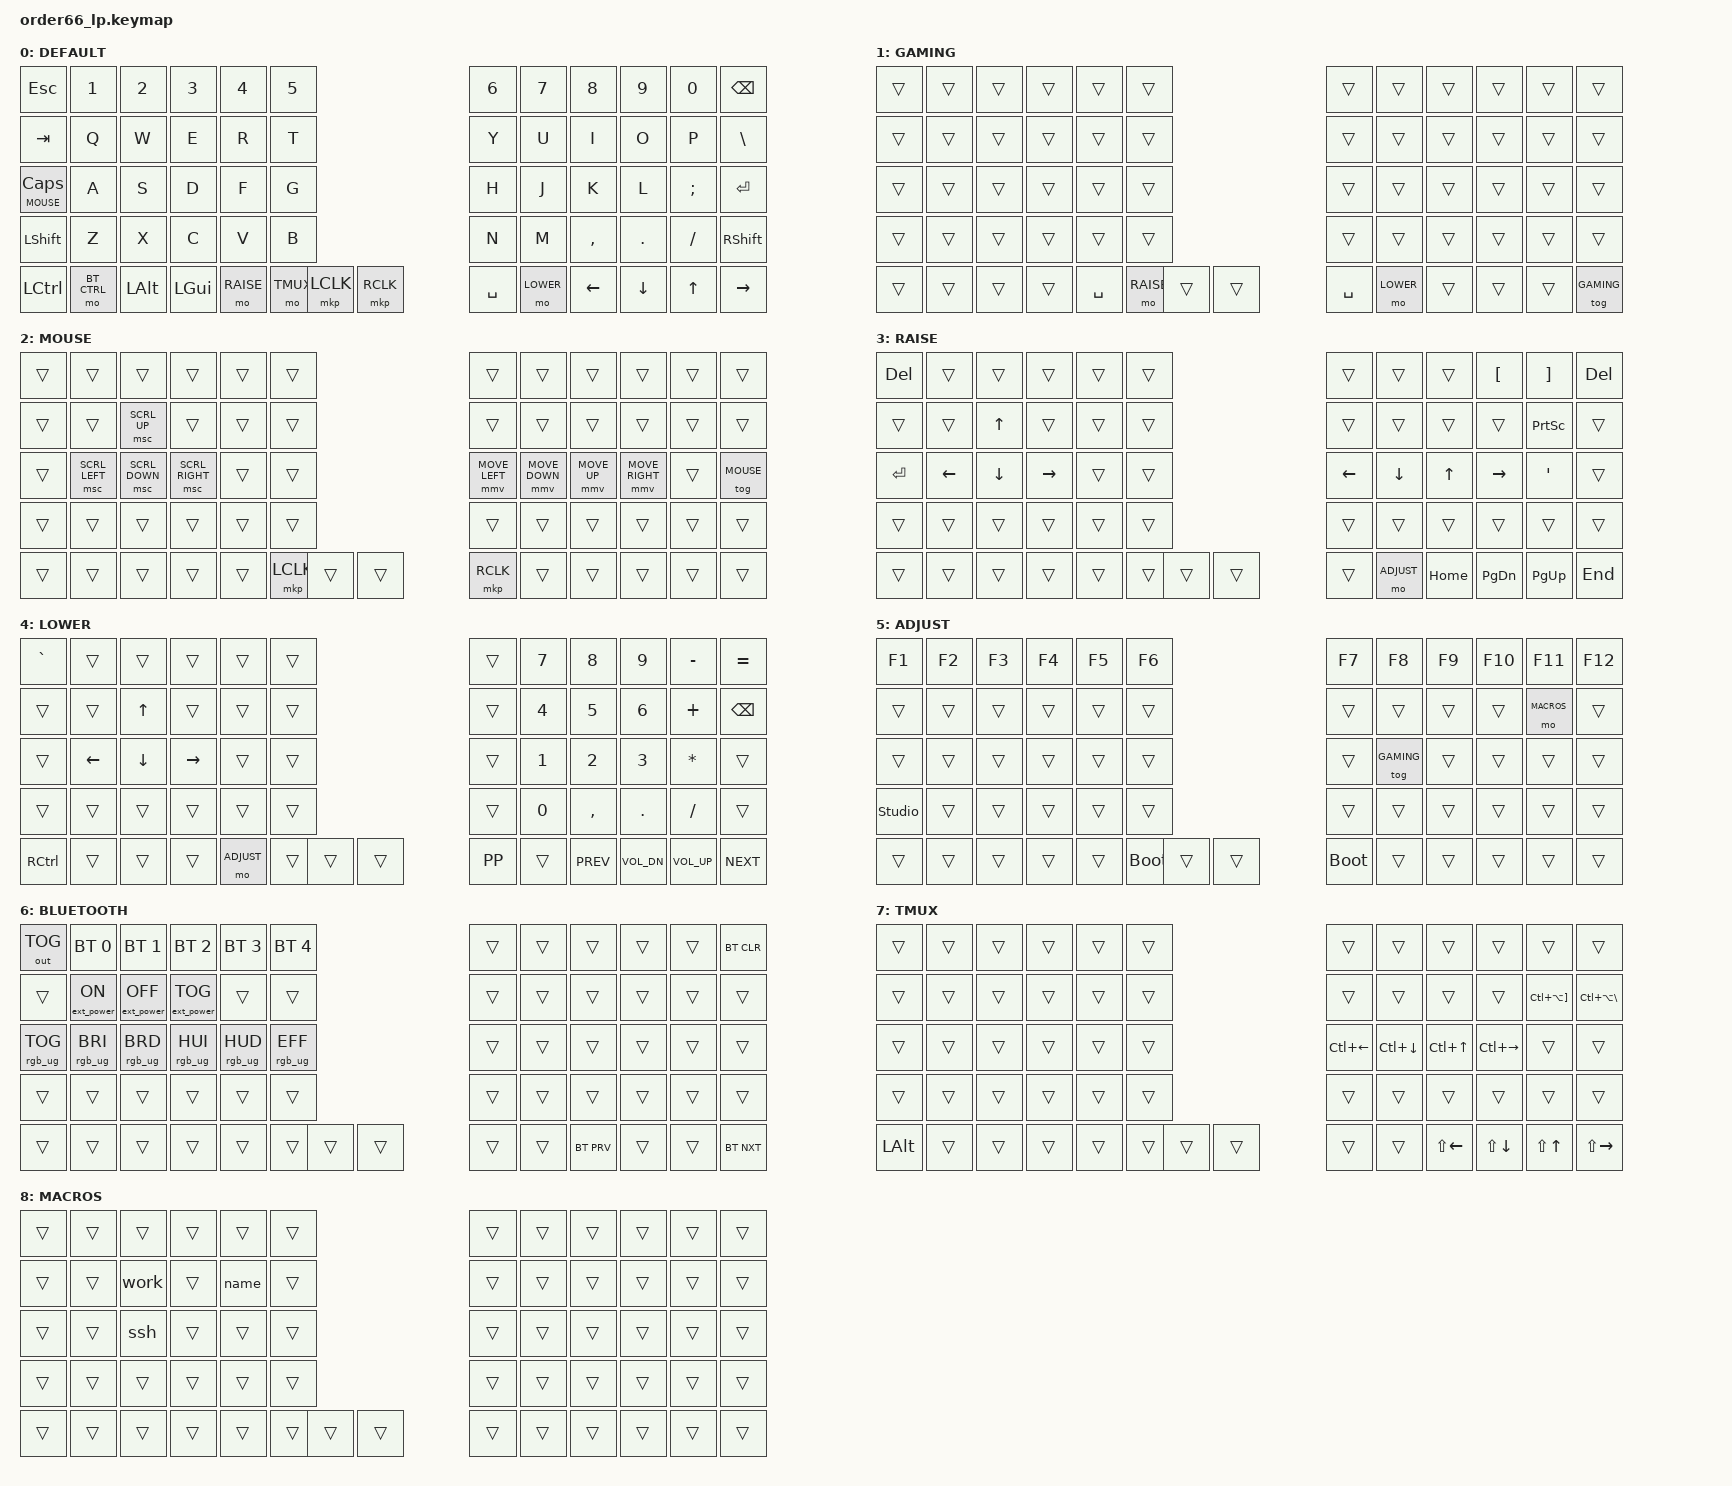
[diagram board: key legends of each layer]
/*
 * order66-lp keymap -- 5x12, 60 keys per layer.
 *
 * Ported from the v1.0 order66 keymap by tools/port_keymap.py, which drops the
 * first 12 bindings of each layer: the old board had a 6-key top row wired as
 * matrix row 0, and every layer bound all of it to &none / &trans.
 *
 * Two bindings are then appended for the dedicated mouse buttons beside the
 * trackpad, giving 62 per layer.
 *
 * SPDX-License-Identifier: MIT
 */

#include <behaviors.dtsi>
#include <dt-bindings/zmk/bt.h>
#include <dt-bindings/zmk/ext_power.h>
#include <dt-bindings/zmk/keys.h>
#include <dt-bindings/zmk/outputs.h>
#include <dt-bindings/zmk/rgb.h>
#include <dt-bindings/zmk/pointing.h>
#include "macros.dtsi"

#define DEFAULT 0
#define GAMING 1
#define MOUSE 2
#define RAISE 3
#define LOWER 4
#define ADJUST 5
#define BT_CTRL 6
#define TMUX 7
#define MACROS 8

/ {
    keymap {
        compatible = "zmk,keymap";

        default_layer {
            display-name = "DEFAULT";
            // ------------------------------------------------------------------------------------------
            // |  ESC  |  1   |  2   |  3   |  4   |  5   |   6   |  7    |  8   |  9   |   0   | BSPC  |
            // |  TAB  |  Q   |  W   |  E   |  R   |  T   |   Y   |  U    |  I   |  O   |   P   |  \    |
            // | SHIFT |  A   |  S   |  D   |  F   |  G   |   H   |  J    |  K   |  L   |   ;   |  '    |
            // | CTRL  |  Z   |  X   |  C   |  V   |  B   |   N   |  M    |  ,   |  .   |   /   | ENTER |
            // |ADJUST | LCTL | LALT | LGUI | LOWR | SPACE| SPACE |  RAIS | LEFT | DOWN | UARW  | RARW  |


            bindings = <
                &kp ESC         &kp N1          &kp N2          &kp N3          &kp N4          &kp N5          &kp N6          &kp N7          &kp N8          &kp N9          &kp N0          &kp BSPC
                &kp TAB         &kp Q           &kp W           &kp E           &kp R           &kp T           &kp Y           &kp U           &kp I           &kp O           &kp P           &kp BSLH
                &lt MOUSE CAPS  &kp A           &kp S           &kp D           &kp F           &kp G           &kp H           &kp J           &kp K           &kp L           &kp SEMI        &kp RET
                &kp LSHFT       &kp Z           &kp X           &kp C           &kp V           &kp B           &kp N           &kp M           &kp COMMA       &kp DOT         &kp FSLH        &kp RSHFT
                &kp LCTRL       &mo BT_CTRL     &kp LALT        &kp LGUI        &mo RAISE       &mo TMUX        &kp SPACE       &mo LOWER       &kp LEFT        &kp DOWN        &kp UP          &kp RIGHT
                &mkp LCLK       &mkp RCLK   // mouse buttons
            >;
        };

        gaming {
            display-name = "GAMING";
            bindings = <
                &trans       &trans       &trans       &trans       &trans       &trans       &trans       &trans       &trans       &trans       &trans       &trans
                &trans       &trans       &trans       &trans       &trans       &trans       &trans       &trans       &trans       &trans       &trans       &trans
                &trans       &trans       &trans       &trans       &trans       &trans       &trans       &trans       &trans       &trans       &trans       &trans
                &trans       &trans       &trans       &trans       &trans       &trans       &trans       &trans       &trans       &trans       &trans       &trans
                &trans       &trans       &trans       &trans       &kp SPACE    &mo RAISE    &kp SPACE    &mo LOWER    &trans       &trans       &trans       &tog GAMING
                &trans       &trans   // mouse buttons
            >;
        };

        mouse_control {
            display-name = "MOUSE";
            // ----------------------------------------------------------------------------------------------
            // |tog(4) |  F2    |   F3   |   F4   |   F5   |   F6   |  F7  |  F8  |  F9  | F10 | F11 |      |
            // |out tog|BT_SEL 0|BT_SEL 1|BT_SEL 2|BT_SEL 3|BT_SEL 4|BT_PRV|BT_NXT|BT_CLR|     |     |      |
            // |       |        |        |        |        |        |      |      |      |     |     |      |
            // |       |        |        |        |        |        |      |      |      |     |     |      |
            // |       |        |        |        |        |        |      |      |      |     |     |      |
            bindings = <
                &trans           &trans           &trans           &trans           &trans           &trans           &trans           &trans           &trans           &trans           &trans           &trans
                &trans           &trans           &msc SCRL_UP     &trans           &trans           &trans           &trans           &trans           &trans           &trans           &trans           &trans
                &trans           &msc SCRL_LEFT   &msc SCRL_DOWN   &msc SCRL_RIGHT  &trans           &trans           &mmv MOVE_LEFT   &mmv MOVE_DOWN   &mmv MOVE_UP     &mmv MOVE_RIGHT  &trans           &tog MOUSE
                &trans           &trans           &trans           &trans           &trans           &trans           &trans           &trans           &trans           &trans           &trans           &trans
                &trans           &trans           &trans           &trans           &trans           &mkp LCLK        &mkp RCLK        &trans           &trans           &trans           &trans           &trans
                &trans           &trans   // mouse buttons
            >;
        };

        raise_layer {
            display-name = "RAISE";
            // ------------------------------------------------------------------------------------------
            // |  ESC  |  F2  |  F3  |  F4  |  F5  |  F6  |  F7   |  F8   |  F9  | F10  |  F11  |  F12  |
            // |   ~   |  1   |  2   |  3   |  4   |  5   |  6    |   7   |  8   |  9   |   0   |  DEL  |
            // |  DEL  |  F1  |  F2  |  F3  |  F4  |  F5  |  F6   |   -   |  =   |  [   |   ]   |   \   |
            // |       |  F7  |  F8  |  F9  |  F10 |  F11 |  F12  |   #   |  |   |      |       |       |
            // |       |      |      |      |      |      |       |       |       |      |      |       |
            bindings = <
                &kp DEL     &trans      &trans      &trans      &trans      &trans      &trans      &trans      &trans      &kp LBKT    &kp RBKT    &kp DEL
                &trans      &trans      &kp UP      &trans      &trans      &trans      &trans      &trans      &trans      &trans      &kp PSCRN   &trans
                &kp RET     &kp LEFT    &kp DOWN    &kp RIGHT   &trans      &trans      &kp LEFT    &kp DOWN    &kp UP      &kp RIGHT   &kp SQT     &trans
                &trans      &trans      &trans      &trans      &trans      &trans      &trans      &trans      &trans      &trans      &trans      &trans
                &trans      &trans      &trans      &trans      &trans      &trans      &trans      &mo ADJUST  &kp HOME    &kp PG_DN   &kp PG_UP   &kp END
                &trans      &trans   // mouse buttons
            >;
        };
       
        lower_layer {
            display-name = "LOWER";
            // -------------------------------------------------------------------------------------------
            // |  ESC  |  F2  |  F3  |  F4  |  F5  |  F6  |   F7  |  F8   |  F9  | F10  |  F11  |  F12  |
            // |   ~   |  !   |  @   |  #   |  $   |  %   |   ^   |   &   |  *   |  (   |   )   |  DEL  |
            // |       |  F1  |  F2  |  F3  |  F4  |  F5  |   F6  |   _   |  +   |  {   |   }   |   |   |
            // |       |  F7  |  F8  |  F9  |  F10 |  F11 |   F12 | LS(#) |LS(|) |      |       |       |
            // |       |      |      |      |      |      |       |       | NEXT | Vol- | Vol+ | PLAY   |
            bindings = <
                &kp GRAVE     &trans        &trans        &trans        &trans        &trans        &trans        &kp N7        &kp N8        &kp N9        &kp MINUS     &kp EQUAL
                &trans        &trans        &kp UP        &trans        &trans        &trans        &trans        &kp N4        &kp N5        &kp N6        &kp PLUS      &kp BSPC
                &trans        &kp LEFT      &kp DOWN      &kp RIGHT     &trans        &trans        &trans        &kp N1        &kp N2        &kp N3        &kp STAR      &trans
                &trans        &trans        &trans        &trans        &trans        &trans        &trans        &kp N0        &kp COMMA     &kp DOT       &kp FSLH      &trans
                &kp RCTRL     &trans        &trans        &trans        &mo ADJUST    &trans        &kp K_PP      &trans        &kp K_PREV    &kp K_VOL_DN  &kp K_VOL_UP  &kp K_NEXT
                &trans        &trans   // mouse buttons
            >;
        };

        adjust_layer {
            display-name = "ADJUST";
            // ------------------------------------------------------------------------------------------
            // |tog(4)|  F2  |  F3  |  F4  |  F5  |  F6  |  F7  |  F8  |  F9  |  F10 |  F11 |    F12    |
            // |      |  NA  |  NA  |  NA  |  NA  |  NA  |  NA  |  NA  |  NA  |  NA  |  NA  |LALT(PRTSN)|
            // |      |  NA  |  NA  |  NA  |  NA  |  NA  |  NA  |  NA  |  NA  |  NA  |  NA  |   PRTSN   |
            // |      |  NA  |  NA  |  NA  |  NA  |  NA  |  NA  |  NA  |  NA  |  NA  |  NA  |LCTRL(DEL) |
            // |      |      |      |      |      |BOOTLD|BOOTLD|      |      |      |      |           |
            bindings = <
                &kp F1          &kp F2          &kp F3          &kp F4          &kp F5          &kp F6          &kp F7          &kp F8          &kp F9          &kp F10         &kp F11         &kp F12
                &trans          &trans          &trans          &trans          &trans          &trans          &trans          &trans          &trans          &trans          &mo MACROS      &trans
                &trans          &trans          &trans          &trans          &trans          &trans          &trans          &tog GAMING     &trans          &trans          &trans          &trans
                &studio_unlock  &trans          &trans          &trans          &trans          &trans          &trans          &trans          &trans          &trans          &trans          &trans
                &trans          &trans          &trans          &trans          &trans          &bootloader     &bootloader     &trans          &trans          &trans          &trans          &trans
                &trans          &trans   // mouse buttons
            >;
        };

        bluetooth_control {
            display-name = "BLUETOOTH";
            // ----------------------------------------------------------------------------------------------
            // |tog(4) |  F2    |   F3   |   F4   |   F5   |   F6   |  F7  |  F8  |  F9  | F10 | F11 |      |
            // |out tog|BT_SEL 0|BT_SEL 1|BT_SEL 2|BT_SEL 3|BT_SEL 4|BT_PRV|BT_NXT|BT_CLR|     |     |      |
            // |       |        |        |        |        |        |      |      |      |     |     |      |
            // |       |        |        |        |        |        |      |      |      |     |     |      |
            // |       |        |        |        |        |        |      |      |      |     |     |      |
            bindings = <
                &out OUT_TOG       &bt BT_SEL 0       &bt BT_SEL 1       &bt BT_SEL 2       &bt BT_SEL 3       &bt BT_SEL 4       &trans             &trans             &trans             &trans             &trans             &bt BT_CLR
                &trans             &ext_power EP_ON   &ext_power EP_OFF  &ext_power EP_TOG  &trans             &trans             &trans             &trans             &trans             &trans             &trans             &trans
                &rgb_ug RGB_TOG    &rgb_ug RGB_BRI    &rgb_ug RGB_BRD    &rgb_ug RGB_HUI    &rgb_ug RGB_HUD    &rgb_ug RGB_EFF    &trans             &trans             &trans             &trans             &trans             &trans
                &trans             &trans             &trans             &trans             &trans             &trans             &trans             &trans             &trans             &trans             &trans             &trans
                &trans             &trans             &trans             &trans             &trans             &trans             &trans             &trans             &bt BT_PRV         &trans             &trans             &bt BT_NXT
                &trans             &trans   // mouse buttons
            >;
        };

        tmux_control {
            display-name = "TMUX";
            // ----------------------------------------------------------------------------------------------
            // |tog(4) |  F2    |   F3   |   F4   |   F5   |   F6   |  F7  |  F8  |  F9  | F10 | F11 |      |
            // |out tog|BT_SEL 0|BT_SEL 1|BT_SEL 2|BT_SEL 3|BT_SEL 4|BT_PRV|BT_NXT|BT_CLR|     |     |      |
            // |       |        |        |        |        |        |      |      |      |     |     |      |
            // |       |        |        |        |        |        |      |      |      |     |     |      |
            // |       |        |        |        |        |        |      |      |      |     |     |      |
            bindings = <
                &trans            &trans            &trans            &trans            &trans            &trans            &trans            &trans            &trans            &trans            &trans            &trans
                &trans            &trans            &trans            &trans            &trans            &trans            &trans            &trans            &trans            &trans            &kp LC(LA(RBKT))  &kp LC(LA(BSLH))
                &trans            &trans            &trans            &trans            &trans            &trans            &kp LC(LEFT)      &kp LC(DOWN)      &kp LC(UP)        &kp LC(RIGHT)     &trans            &trans
                &trans            &trans            &trans            &trans            &trans            &trans            &trans            &trans            &trans            &trans            &trans            &trans
                &kp LALT          &trans            &trans            &trans            &trans            &trans            &trans            &trans            &kp LS(LEFT)      &kp LS(DOWN)      &kp LS(UP)        &kp LS(RIGHT)
                &trans            &trans   // mouse buttons
            >;
        };

        macros {
            display-name = "MACROS";
            bindings = <
                &trans  &trans  &trans  &trans  &trans  &trans  &trans  &trans  &trans  &trans  &trans  &trans
                &trans  &trans  &work   &trans  &name   &trans  &trans  &trans  &trans  &trans  &trans  &trans
                &trans  &trans  &ssh    &trans  &trans  &trans  &trans  &trans  &trans  &trans  &trans  &trans
                &trans  &trans  &trans  &trans  &trans  &trans  &trans  &trans  &trans  &trans  &trans  &trans
                &trans  &trans  &trans  &trans  &trans  &trans  &trans  &trans  &trans  &trans  &trans  &trans
                &trans  &trans   // mouse buttons
            >;
        };
    };
};
